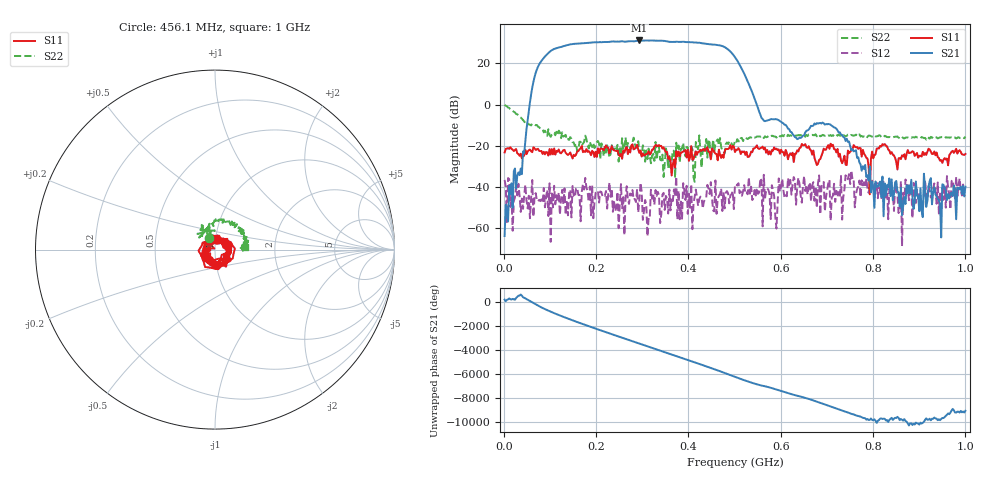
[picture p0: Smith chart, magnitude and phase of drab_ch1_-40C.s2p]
!Keysight Technologies N9923A: A.12.45
!Date: Friday, 31 October 2025 05:11:08
!Timezone: (UTC+08:00) Kuala Lumpur, Singapore
!Model: N9923A
!Serial: MY61181427
!GPS Latitude:
!GPS Longitude:
!GPS TimeStamp: 0001-01-01 00:00:00Z
!GPS Seconds Since Last Read: 0
!CHECKSUM:0705864134
!Correction: S11(ON U?)S21(ON U?)S12(ON U?)S22(ON U?)
!S2P File: Measurements:S11,S21,S12,S22:
# Hz S DB R 50
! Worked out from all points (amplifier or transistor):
!   401 points, 2 MHz to 1 GHz, reference 50 ohm
!   highest |S21| = 31.1 dB at 293.9 MHz (marker M1)
!   |S21| within 3 dB of that: 126.3 MHz to 476.4 MHz (350.1 MHz wide, 116 % of centre)
!   unconditionally stable (mu >= 1): start of sweep to end of sweep
!   at 166.7 MHz: K = 10.72, MAG = 29.8 dB, |S12| = -56.5 dB
!   at 501 MHz: K = 3.05, MAG = 23.1 dB, |S12| = -38.6 dB
!   at 1 GHz: K = 6514.01, MAG = -39.6 dB, |S12| = -42.8 dB
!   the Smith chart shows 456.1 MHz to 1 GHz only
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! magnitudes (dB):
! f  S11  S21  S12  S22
! 2 MHz  -23.1  -63.7  -36.5  -0.1
! 39.42 MHz  -26.0  -33.7  -45.5  -6.8
! 74.36 MHz  -21.4  18.4  -46.9  -10.6
! 169.2 MHz  -20.1  29.8  -42.1  -19.8
! 293.9 MHz  -23.4  31.1  -46.4  -22.8
! 311.4 MHz  -23.8  31.1  -63.8  -26.4
! 323.9 MHz  -21.7  31.1  -43.3  -23.8
! 336.3 MHz  -19.6  31.0  -43.8  -20.4
! 366.3 MHz  -29.0  30.4  -46.7  -22.2
! 501 MHz  -23.0  23.0  -38.6  -17.6
! 563.4 MHz  -21.6  -7.7  -34.0  -16.2
! 588.3 MHz  -21.6  -7.0  -54.6  -15.4
! 638.2 MHz  -22.6  -16.5  -35.4  -14.8
! 668.2 MHz  -24.2  -10.4  -39.1  -14.6
! 723.1 MHz  -21.5  -12.5  -44.5  -15.1
! 748 MHz  -23.5  -17.8  -33.6  -14.6
! 800.4 MHz  -26.0  -39.8  -37.8  -15.7
! 835.3 MHz  -22.2  -35.7  -40.7  -15.6
! 902.7 MHz  -24.7  -40.5  -47.4  -16.2
! 927.6 MHz  -23.9  -48.3  -43.4  -16.1
! 942.6 MHz  -25.9  -46.4  -52.8  -16.1
! 1 GHz  -23.9  -39.8  -42.8  -15.4
